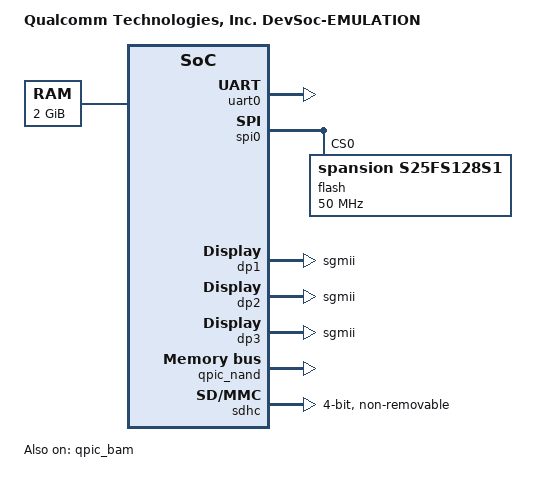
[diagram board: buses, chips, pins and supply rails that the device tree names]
// SPDX-License-Identifier: (GPL-2.0+ OR BSD-3-Clause)
/*
 * Dev SoC Emulation board device tree source
 *
 * Copyright (c) 2020-2021 The Linux Foundation. All rights reserved.
 * Copyright (c) 2022-2023 Qualcomm Innovation Center, Inc. All rights reserved.
 */

/dts-v1/;

#include "devsoc.dtsi"

/ {
	model = "Qualcomm Technologies, Inc. DevSoc-EMULATION";
	compatible = "qcom,devsoc-ap-emulation", "qcom,devsoc";

	/*Timer freq for rumi = timer freq / 100*/
	clocks {
		sleep_clk: sleep-clk {
			clock-frequency = <320>;
		};

		xo: xo {
			clock-frequency = <240000>;
		};
	};

	aliases {
		serial0 = &uart0;
		ethernet0 = "/soc/dp1";
		ethernet1 = "/soc/dp2";
		ethernet2 = "/soc/dp3";
	};

	chosen {
		linux,initrd-end = <0x97000000>;
		linux,initrd-start = <0x95000000>;
		bootargs = "root=/dev/ram0 rw init=/init clk_ignore_unused maxcpus=2";
		stdout-path = "serial0";
	};

	cpus: cpus {
		CPU0: cpu@0 {
			enable-method = "qcom,arm-cortex-acc";
			qcom,acc = <&acc0>;
		};

		CPU1: cpu@100 {
			enable-method = "qcom,arm-cortex-acc";
			qcom,acc = <&acc1>;
		};

		CPU2: cpu@200 {
			enable-method = "qcom,arm-cortex-acc";
			qcom,acc = <&acc2>;
		};

		CPU3: cpu@300 {
			enable-method = "qcom,arm-cortex-acc";
			qcom,acc = <&acc3>;
		};
	};

	memory@80000000 {
		reg = <0x0 0x80000000 0x0 0x80000000>;
	};

	soc@0 {
		qupv3: geniqup@1ac0000 {
			status = "okay";

			uart0: serial@1a80000 {
				pinctrl-0 = <&qup_uart0_default>;
				pinctrl-names = "default";
				status = "okay";
			};

			spi0: spi@1a90000 {
				pinctrl-0 = <&qup_spi0_default>;
				pinctrl-names = "default";
				status = "okay";

				flash@0 {
					compatible = "spansion,s25fs128s1", "jedec,spi-nor";
					#address-cells = <1>;
					#size-cells = <1>;
					reg = <0>;
					spi-max-frequency = <50000000>;
				};
			};
		};

#ifdef __QCOM_NON_SECURE_PIL__
		q6v5_wcss: remoteproc@d100000 {
			qcom,emulation;
			qcom,nosecure;
			bootaddr = <0x8a900000>;
			q6_wcss_pd1: remoteproc_pd1 {
				qcom,emulation;
				qcom,nosecure;
				bootaddr = <0x8a900000>;
			};
		};
#endif

		acc0: clock-controller@f800000 {
			compatible = "qcom,arm-cortex-acc";
			reg = <0xf800000 0x10000>;
		};

		acc1: clock-controller@f810000 {
			compatible = "qcom,arm-cortex-acc";
			reg = <0xf810000 0x10000>;
		};

		acc2:clock-controller@f820000 {
			compatible = "qcom,arm-cortex-acc";
			reg = <0xf820000 0x10000>;
		};

		acc3:clock-controller@f830000 {
			compatible = "qcom,arm-cortex-acc";
			reg = <0xf830000 0x10000>;
		};

		ess-instance {
			num_devices = <0x1>;
			ess-switch@3a000000 {
				qcom,emulation; /* RUMI ENV */
				switch_cpu_bmp = <0x1>;  /* cpu port bitmap */
				switch_lan_bmp = <0x6>; /* lan port bitmap */
				switch_wan_bmp = <0x8>; /* wan port bitmap */
				switch_mac_mode = <0xd>; /* mac mode for uniphy instance0*/
				switch_mac_mode1 = <0xd>; /* mac mode for uniphy instance1*/
				switch_mac_mode2 = <0xd>; /* mac mode for uniphy instance2*/
				bm_tick_mode = <0>; /* bm tick mode */
				tm_tick_mode = <0>; /* tm tick mode */
				qcom,port_phyinfo {
					port@0 {
						port_id = <1>;
						forced-speed = <10000>;
						forced-duplex = <1>;
					};
					port@1 {
						port_id = <2>;
						forced-speed = <10000>;
						forced-duplex = <1>;
					};
					port@2 {
						port_id = <3>;
						forced-speed = <10000>;
						forced-duplex = <1>;
					};
				};
				port_scheduler_resource {
					port@0 {
						port_id = <0>;
						ucast_queue = <0 63>;
						mcast_queue = <256 263>;
						l0sp = <0 0>;
						l0cdrr = <0 7>;
						l0edrr = <0 7>;
						l1cdrr = <0 0>;
						l1edrr = <0 0>;
					};
					port@1 {
						port_id = <1>;
						ucast_queue = <204 211>;
						mcast_queue = <272 275>;
						l0sp = <51 52>;
						l0cdrr = <108 115>;
						l0edrr = <108 115>;
						l1cdrr = <23 24>;
						l1edrr = <23 24>;
					};
					port@2 {
						port_id = <2>;
						ucast_queue = <212 219>;
						mcast_queue = <276 279>;
						l0sp = <53 54>;
						l0cdrr = <116 123>;
						l0edrr = <116 123>;
						l1cdrr = <25 26>;
						l1edrr = <25 26>;
					};
					port@3 {
						port_id = <3>;
						ucast_queue = <220 227>;
						mcast_queue = <280 283>;
						l0sp = <55 56>;
						l0cdrr = <124 131>;
						l0edrr = <124 131>;
						l1cdrr = <27 28>;
						l1edrr = <27 28>;
					};
					reserved {
						ucast_queue = <64 203>;
						mcast_queue = <264 271>;
						l0sp = <1 50>;
						l0cdrr = <8 107>;
						l0edrr = <8 107>;
						l1cdrr = <1 22>;
						l1edrr = <1 22>;
					};
				};
				port_scheduler_config {
					port@0 {
						port_id = <0>;
						l1scheduler {
							group@0 {
								/* L0 SP */
								sp = <0>;
								/* cpri cdrr epri edrr */
								cfg = <0 0 0 0>;
							};
						};
						l0scheduler {
							group@0 {
								/* unicast queue */
								ucast_queue = <0>;
								ucast_loop_pri = <8>;
								/* multicast queue */
								mcast_queue = <256>;
								/* sp cpri cdrr epri edrr */
								cfg = <0 0 0 0 0>;
							};
							group@1 {
								ucast_queue = <8>;
								ucast_loop_pri = <8>;
								mcast_queue = <257>;
								cfg = <0 0 0 0 0>;
							};
							group@2 {
								ucast_queue = <16>;
								ucast_loop_pri = <8>;
								mcast_queue = <258>;
								cfg = <0 0 0 0 0>;
							};
							group@3 {
								ucast_queue = <24>;
								ucast_loop_pri = <8>;
								mcast_queue = <259>;
								cfg = <0 0 0 0 0>;
							};
							group@4 {
								ucast_queue = <32>;
								ucast_loop_pri = <8>;
								mcast_queue = <260>;
								cfg = <0 0 0 0 0>;
							};
							group@5 {
								ucast_queue = <40>;
								ucast_loop_pri = <8>;
								mcast_queue = <261>;
								cfg = <0 0 0 0 0>;
							};
							group@6 {
								ucast_queue = <48>;
								ucast_loop_pri = <8>;
								mcast_queue = <262>;
								cfg = <0 0 0 0 0>;
							};
							group@7 {
								ucast_queue = <56>;
								ucast_loop_pri = <8>;
								mcast_queue = <263>;
								cfg = <0 0 0 0 0>;
							};
						};
					};
					port@1 {
						port_id = <1>;
						l1scheduler {
							group@0 {
								sp = <51>;
								cfg = <0 23 0 23>;
							};
							group@1 {
								sp = <52>;
								cfg = <1 24 1 24>;
							};
						};
						l0scheduler {
							group@0 {
								ucast_queue = <204>;
								ucast_loop_pri = <8>;
								/* max priority per SP */
								ucast_max_pri = <4>;
								mcast_queue = <272>;
								mcast_loop_pri = <4>;
								cfg = <51 0 108 0 108>;
							};
						};
					};
					port@2 {
						port_id = <2>;
						l1scheduler {
							group@0 {
								sp = <53>;
								cfg = <0 25 0 25>;
							};
							group@1 {
								sp = <54>;
								cfg = <1 26 1 26>;
							};
						};
						l0scheduler {
							group@0 {
								ucast_queue = <212>;
								ucast_loop_pri = <8>;
								ucast_max_pri = <4>;
								mcast_queue = <276>;
								mcast_loop_pri = <4>;
								cfg = <53 0 116 0 116>;
							};
						};
					};
					port@3 {
						port_id = <3>;
						l1scheduler {
							group@0 {
								sp = <55>;
								cfg = <0 27 0 27>;
							};
							group@1 {
								sp = <56>;
								cfg = <1 28 1 28>;
							};
						};
						l0scheduler {
							group@0 {
								ucast_queue = <220>;
								ucast_loop_pri = <8>;
								ucast_max_pri = <4>;
								mcast_queue = <280>;
								mcast_loop_pri = <4>;
								cfg = <55 0 124 0 124>;
							};
						};
					};
				};
			};
		};

		dp1 {
			device_type = "network";
			compatible = "qcom,nss-dp";
			qcom,id = <1>;
			reg = <0x3A500000 0x4000>;
			qcom,mactype = <1>;
			local-mac-address = [000000000000];
			qcom,phy-mdio-addr = <0>;
			phy-mode = "sgmii";
		};

		dp2 {
			device_type = "network";
			compatible = "qcom,nss-dp";
			qcom,id = <2>;
			reg = <0x3A504000 0x4000>;
			qcom,mactype = <1>;
			local-mac-address = [000000000000];
			qcom,phy-mdio-addr = <0>;
			phy-mode = "sgmii";
		};

		dp3 {
			device_type = "network";
			compatible = "qcom,nss-dp";
			qcom,id = <3>;
			reg = <0x3A508000 0x4000>;
			qcom,mactype = <1>;
			local-mac-address = [000000000000];
			qcom,phy-mdio-addr = <0>;
			phy-mode = "sgmii";
 		};

		/* EDMA host driver configuration for the board */
		edma@3ab00000 {
			qcom,txdesc-ring-start = <16>;		/* Tx desc ring start ID */
			qcom,txdesc-rings = <16>;		/* Total number of Tx desc rings to be provisioned */
			qcom,txcmpl-ring-start = <16>;		/* Tx complete ring start ID */
			qcom,txcmpl-rings = <16>;		/* Total number of Tx complete rings to be provisioned */
			qcom,rxfill-ring-start = <4>;		/* Rx fill ring start ID */
			qcom,rxfill-rings = <4>;		/* Total number of Rx fill rings to be provisioned */
			qcom,rxdesc-ring-start = <20>;		/* Rx desc ring start ID */
			qcom,rxdesc-rings = <4>;		/* Total number of Rx desc rings to be provisioned */
			qcom,rx-page-mode = <0>;		/* Rx fill ring page mode */
			qcom,tx-map-priority-level = <1>;	/* Tx priority level per port */
			qcom,rx-map-priority-level = <1>;	/* Rx priority level per core */
			qcom,ppeds-num = <2>;			/* Number of PPEDS nodes */
			/* PPE-DS node format: <Rx-fill Tx-cmpl Rx Tx Queue-base Queue-count> */
			qcom,ppeds-map = <1 1 1 1 32 8>,	/* PPEDS Node #1 ring and queue map */
					<2 2 2 2 40 8>;		/* PPEDS Node #2 ring and queue map */
			qcom,txdesc-map = <16 17 18 19>,	/* Port0 per-core Tx ring map */
					<20 21 22 23>,		/* Port1 per-core Tx ring map */
					<24 25 26 27>,		/* Port2 per-core Tx ring map */
					<28 29 30 31>;		/* used only for packets from  vp*/
			qcom,txdesc-fc-grp-map = <1 2 3>;	/* Per GMAC flow control group map */
			qcom,rxfill-map = <4 5 6 7>;		/* Per-core Rx fill ring map */
			qcom,rxdesc-map = <20 21 22 23>;	/* Per-core Rx desc ring map */
			qcom,rx-queue-start = <0>;		/* Rx queue start */
			qcom,rx-ring-queue-map = <0 8 16 24>,	/* Priority 0 queues per-core Rx ring map */
						<1 9 17 25>,	/* Priority 1 queues per-core Rx ring map */
						<2 10 18 26>,	/* Priority 2 queues per-core Rx ring map */
						<3 11 19 27>,	/* Priority 3 queues per-core Rx ring map */
						<4 12 20 28>,	/* Priority 4 queues per-core Rx ring map */
						<5 13 21 29>,	/* Priority 5 queues per-core Rx ring map */
						<6 14 22 30>,	/* Priority 6 queues per-core Rx ring map */
						<7 15 23 31>;	/* Priority 7 queues per-core Rx ring map */
			interrupts = <0 298 4>,			/* Tx complete ring id #16 IRQ info */
					<0 299 4>,		/* Tx complete ring id #17 IRQ info */
					<0 300 4>,		/* Tx complete ring id #18 IRQ info */
					<0 301 4>,		/* Tx complete ring id #19 IRQ info */
					<0 302 4>,		/* Tx complete ring id #20 IRQ info */
					<0 303 4>,		/* Tx complete ring id #21 IRQ info */
					<0 304 4>,		/* Tx complete ring id #22 IRQ info */
					<0 305 4>,		/* Tx complete ring id #23 IRQ info */
					<0 306 4>,		/* Tx complete ring id #24 IRQ info */
					<0 307 4>,		/* Tx complete ring id #25 IRQ info */
					<0 308 4>,		/* Tx complete ring id #26 IRQ info */
					<0 309 4>,		/* Tx complete ring id #27 IRQ info */
					<0 310 4>,		/* Tx complete ring id #28 IRQ info */
					<0 311 4>,		/* Tx complete ring id #29 IRQ info */
					<0 312 4>,		/* Tx complete ring id #30 IRQ info */
					<0 313 4>,		/* Tx complete ring id #31 IRQ info */
					<0 270 4>,		/* Rx desc ring id #20 IRQ info */
					<0 271 4>,		/* Rx desc ring id #21 IRQ info */
					<0 272 4>,		/* Rx desc ring id #22 IRQ info */
					<0 273 4>,		/* Rx desc ring id #23 IRQ info */
					<0 314 4>,		/* Misc error IRQ info */
					<0 283 4>,		/* PPEDS Node #1(TxComp ring id #1) TxComplete IRQ info */
					<0 251 4>,		/* PPEDS Node #1(Rx Desc ring id #1) Rx Desc IRQ info */
					<0 275 4>,		/* PPEDS Node #1(RxFill Desc ring id #1) Rx Fill IRQ info */
					<0 284 4>,		/* PPEDS Node #2(TxComp ring id #2) TxComplete IRQ info */
					<0 252 4>,		/* PPEDS Node #2(Rx Desc ring id #2) Rx Desc IRQ info */
					<0 276 4>;		/* PPEDS Node #2(RxFill Desc ring id #2) Rx Fill IRQ info */
                };

		/* Timer freq for rumi = timer freq / 100 */
		timer@f420000 {
			clock-frequency = <240000>;
		};
	};

	/* Timer freq for rumi = timer freq / 100 */
	timer {
		clock-frequency = <240000>;
	};

	psci {
		status = "disabled";
	};
};

&qpic_bam {
	status = "okay";
};

&qpic_nand {
	status = "okay";
};

&sdhc {
	/* over-ride the frequency to 48Mhz for emulation platform */
	max-frequency = <48000000>;
	/* Force 3.3V, because only that will support on emulation platform */
	mmc-ddr-3_3v;
	/* quirk to disable SDR104, SDR50 modes */
	no-1-8-v;
	max-frequency = <192000000>;
	bus-width = <4>;
	non-removable;
	status = "okay";
};

&pcie0 {
	max-link-speed = <1>;
	phys = <>;
	phy-names = "";
	status = "disabled";

	pcie0_rp {
		reg = <0 0 0 0 0>;

		qcom,mhi@0 {
			reg = <0 0 0 0 0>;
		};
	};
};

&pcie1 {
	max-link-speed = <1>;
	phys = <>;
	phy-names = "";
	status = "disabled";

	pcie1_rp {
		reg = <0 0 0 0 0>;

		qcom,mhi@0 {
			reg = <0 0 0 0 0>;
		};
	};
};

&pcie2 {
	max-link-speed = <1>;
	phys = <>;
	phy-names = "";
	status = "disabled";

	pcie2_rp {
		reg = <0 0 0 0 0>;

		qcom,mhi@0 {
			reg = <0 0 0 0 0>;
		};
	};
};

&pcie3 {
	max-link-speed = <1>;
	phys = <>;
	phy-names = "";
	status = "disabled";

	pcie3_rp {
		reg = <0 0 0 0 0>;

		qcom,mhi@0 {
			reg = <0 0 0 0 0>;
		};
	};
};
